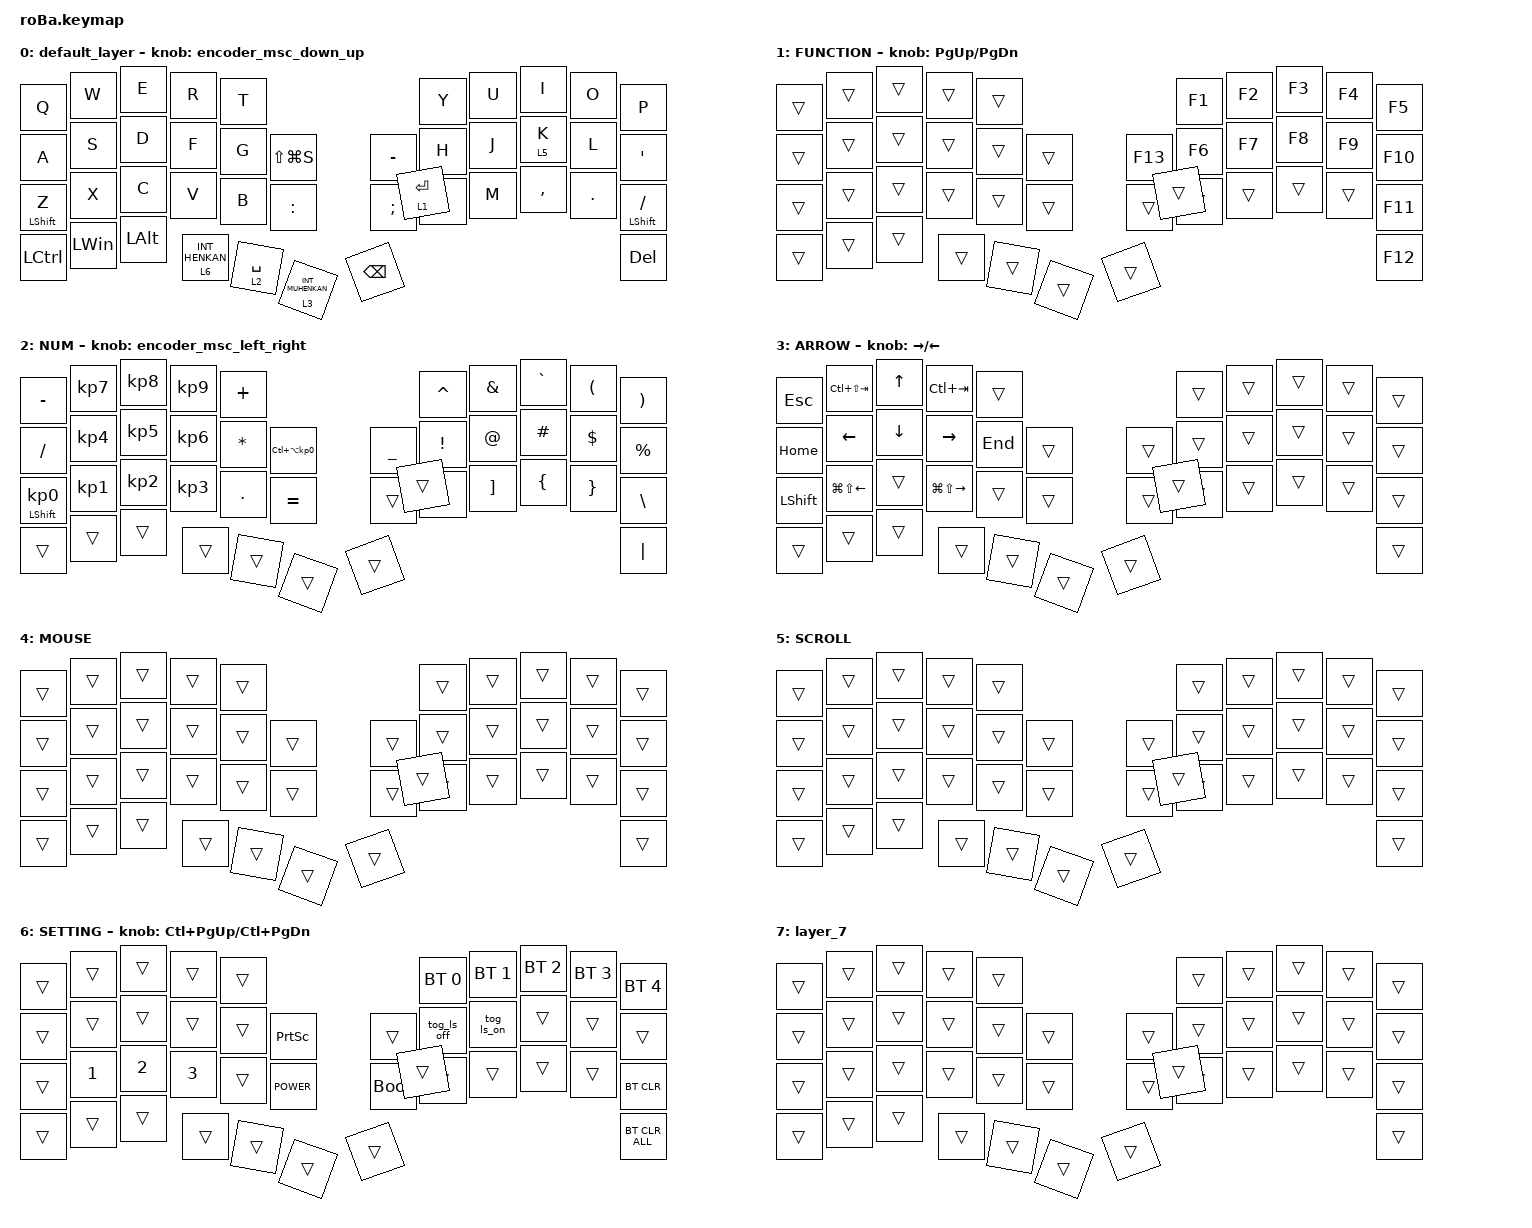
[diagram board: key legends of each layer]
#include <behaviors.dtsi>
#include <dt-bindings/zmk/bt.h>
#include <dt-bindings/zmk/keys.h>
#include <dt-bindings/zmk/pointing.h>

// Layout Shift Overlay - Replaces &kp behavior with custom implementation
// This file should be included in keyboard config to override &kp behavior

#include "layout_shift.dtsi"

/ {
    behaviors {
        // Keep the original key_press behavior for ZMK core components

        original_key_press: original_key_press {
            compatible = "zmk,behavior-key-press";
            #binding-cells = <1>;
            label = "KEY_PRESS";
        };

        // Override the existing &kp behavior to use our custom implementation

        kp: key_press {
            compatible = "zmk,behavior-layout-shift-key-press";
            #binding-cells = <1>;
            label = "LAYOUT_SHIFT_KEY_PRESS";

            //bindings = <&original_key_press>; //古い設定
            //toggle-behavior = <&tog_ls>;
        };
    };
};

#define ZMK_POINTING_DEFAULT_SCRL_VAL 80

&tog_ls { layout-maps = <&layout_shift_map_us_to_jis>; };

&tog_ls_on { layout-maps = <&layout_shift_map_us_to_jis>; };

&tog_ls_off { layout-maps = <&layout_shift_map_us_to_jis>; };

&mt {
    flavor = "balanced";
    quick-tap-ms = <0>;
};

&trackball {
    automouse-layer = <4>;
    scroll-layers = <5>;

    // arrows {
    //     layers = <3>;
    //     bindings =
    //         <&kp RIGHT_ARROW>,
    //         <&kp LEFT_ARROW>,
    //         <&kp UP_ARROW>,
    //         <&kp DOWN_ARROW>;
    //     tick = <10>;
    //     wait-ms = <5>;
    //     tap-ms = <5>;
    // };
};

/ {
    combos {
        compatible = "zmk,combos";

        tab {
            bindings = <&kp TAB>;
            key-positions = <11 12>;
        };

        shift_tab {
            bindings = <&kp LS(TAB)>;
            key-positions = <12 13>;
        };

        muhennkann {
            bindings = <&to_layer_0 INT_MUHENKAN>;
            key-positions = <11 10>;
        };

        double_quotation {
            bindings = <&kp DOUBLE_QUOTES>;
            key-positions = <20 21>;
        };

        eq {
            bindings = <&kp EQUAL>;
            key-positions = <24 25>;
        };

        insert {
            bindings = <&kp INSERT>;
            key-positions = <16 28>;
        };

        numlock {
            bindings = <&kp KP_NUMLOCK>;
            key-positions = <15 27>;
        };

        left_click {
            bindings = <&mkp MB1>;
            key-positions = <18 19>;
        };

        right_click {
            bindings = <&mkp MB2>;
            key-positions = <19 20>;
        };

        middle_click {
            bindings = <&mkp MB3>;
            key-positions = <31 19>;
        };

        mb4_click {
            bindings = <&mkp MB4>;
            key-positions = <30 31>;
        };

        mb5_click {
            bindings = <&mkp MB5>;
            key-positions = <31 32>;
        };
    };

    macros {
        to_layer_0: to_layer_0 {
            compatible = "zmk,behavior-macro-one-param";
            #binding-cells = <1>;
            bindings = <&to 0 &macro_param_1to1 &kp MACRO_PLACEHOLDER>;
            label = "TO_LAYER_0";
        };
    };

    behaviors {
        lt_to_layer_0: lt_to_layer_0 {
            compatible = "zmk,behavior-hold-tap";
            label = "LAYER_TAP_TO_0";
            bindings = <&mo>, <&to_layer_0>;

            #binding-cells = <2>;
            tapping-term-ms = <200>;
        };
    };

    behaviors {
        encoder_msc_down_up: encoder_msc_down_up {
            compatible = "zmk,behavior-sensor-rotate";
            label = "ENCODER_MSC_DOWN_UP";
            #sensor-binding-cells = <0>;
            bindings = <&msc SCRL_DOWN>, <&msc SCRL_UP>;

            tap-ms = <20>;
        };
    };

    behaviors {
        init_layout_shift: init_layout_shift {
            compatible = "zmk,behavior-hold-tap";
            #binding-cells = <2>;
            flavor = "tap-preferred";
            tapping-term-ms = <0>;
            bindings = <&tog_ls_on>, <&tog_ls_on>;
        };

        encoder_msc_left_right: encoder_msc_left_right {
            compatible = "zmk,behavior-sensor-rotate";
            label = "ENCODER_MSC_LEFT_RIGHT";
            #sensor-binding-cells = <0>;
            bindings = <&msc SCRL_LEFT>, <&msc SCRL_RIGHT>;

            tap-ms = <20>;
        };
    };

    keymap {
        compatible = "zmk,keymap";

        default_layer {
            bindings = <
&kp Q             &kp W         &kp E         &kp R                        &kp T                                                          &kp Y        &kp U  &kp I      &kp O    &kp P
&kp A             &kp S         &kp D         &kp F                        &kp G        &kp LS(LG(S))                      &kp MINUS      &kp H        &kp J  &lt 5 K    &kp L    &kp SQT
&mt LEFT_SHIFT Z  &kp X         &kp C         &kp V                        &kp B        &kp COLON                          &kp SEMICOLON  &kp N        &kp M  &kp COMMA  &kp DOT  &mt LEFT_SHIFT SLASH
&kp LCTRL         &kp LEFT_WIN  &kp LEFT_ALT  &lt_to_layer_0 6 INT_HENKAN  &lt 2 SPACE  &lt_to_layer_0 3 INT_MUHENKAN      &kp BACKSPACE  &lt 1 ENTER                             &kp DEL
            >;

            //sensor-bindings = <&inc_dec_kp PG_UP PAGE_DOWN>;

            sensor-bindings = <&encoder_msc_down_up>;
        };

        FUNCTION {
            bindings = <
&trans  &trans  &trans  &trans  &trans                       &kp F1  &kp F2  &kp F3  &kp F4  &kp F5
&trans  &trans  &trans  &trans  &trans  &trans      &kp F13  &kp F6  &kp F7  &kp F8  &kp F9  &kp F10
&trans  &trans  &trans  &trans  &trans  &trans      &trans   &trans  &trans  &trans  &trans  &kp F11
&trans  &trans  &trans  &trans  &trans  &trans      &trans   &trans                          &kp F12
            >;

            sensor-bindings = <&inc_dec_kp PAGE_UP PAGE_DOWN>;
        };

        NUM {
            bindings = <
&kp MINUS                   &kp KP_NUMBER_7  &kp KP_NUMBER_8  &kp KP_NUMBER_9  &kp PLUS                                                   &kp CARET         &kp AMPERSAND      &kp GRAVE       &kp LEFT_PARENTHESIS  &kp RIGHT_PARENTHESIS
&kp SLASH                   &kp KP_NUMBER_4  &kp KP_NUMBER_5  &kp KP_NUMBER_6  &kp ASTERISK  &kp LC(LA(KP_NUMBER_0))      &kp UNDERSCORE  &kp EXCLAMATION   &kp AT_SIGN        &kp HASH        &kp DOLLAR            &kp PERCENT
&mt LEFT_SHIFT KP_NUMBER_0  &kp KP_NUMBER_1  &kp KP_NUMBER_2  &kp KP_NUMBER_3  &kp PERIOD    &kp EQUAL                    &trans          &kp LEFT_BRACKET  &kp RIGHT_BRACKET  &kp LEFT_BRACE  &kp RIGHT_BRACE       &kp BACKSLASH
&trans                      &trans           &trans           &trans           &trans        &trans                       &trans          &trans                                                                     &kp PIPE
            >;

            sensor-bindings = <&encoder_msc_left_right>;
        };

        ARROW {
            bindings = <
&kp ESCAPE      &kp LC(LS(TAB))         &kp UP_ARROW    &kp LC(TAB)              &trans                       &trans  &trans  &trans  &trans  &trans
&kp HOME        &kp LEFT_ARROW          &kp DOWN_ARROW  &kp RIGHT_ARROW          &kp END  &trans      &trans  &trans  &trans  &trans  &trans  &trans
&kp LEFT_SHIFT  &kp LG(LS(LEFT_ARROW))  &trans          &kp LG(LS(RIGHT_ARROW))  &trans   &trans      &trans  &trans  &trans  &trans  &trans  &trans
&trans          &trans                  &trans          &trans                   &trans   &trans      &trans  &trans                          &trans
            >;

            sensor-bindings = <&inc_dec_kp RIGHT_ARROW LEFT_ARROW>;
        };

        MOUSE {
            bindings = <
&trans  &trans  &trans  &trans  &trans                      &trans  &trans  &trans  &trans  &trans
&trans  &trans  &trans  &trans  &trans  &trans      &trans  &trans  &trans  &trans  &trans  &trans
&trans  &trans  &trans  &trans  &trans  &trans      &trans  &trans  &trans  &trans  &trans  &trans
&trans  &trans  &trans  &trans  &trans  &trans      &trans  &trans                          &trans
            >;
        };

        SCROLL {
            bindings = <
&trans  &trans  &trans  &trans  &trans                      &trans  &trans  &trans  &trans  &trans
&trans  &trans  &trans  &trans  &trans  &trans      &trans  &trans  &trans  &trans  &trans  &trans
&trans  &trans  &trans  &trans  &trans  &trans      &trans  &trans  &trans  &trans  &trans  &trans
&trans  &trans  &trans  &trans  &trans  &trans      &trans  &trans                          &trans
            >;
        };

        SETTING {
            bindings = <
&trans  &trans        &trans        &trans        &trans                                    &bt BT_SEL 0  &bt BT_SEL 1  &bt BT_SEL 2  &bt BT_SEL 3  &bt BT_SEL 4
&trans  &trans        &trans        &trans        &trans  &kp PRINTSCREEN      &trans       &tog_ls_off   &tog_ls_on    &trans        &trans        &trans
&trans  &kp NUMBER_1  &kp NUMBER_2  &kp NUMBER_3  &trans  &kp C_POWER          &bootloader  &trans        &trans        &trans        &trans        &bt BT_CLR
&trans  &trans        &trans        &trans        &trans  &trans               &trans       &trans                                                  &bt BT_CLR_ALL
            >;

            sensor-bindings = <&inc_dec_kp LC(PAGE_UP) LC(PAGE_DOWN)>;
        };

        layer_7 {
            bindings = <
&trans  &trans  &trans  &trans  &trans                      &trans  &trans  &trans  &trans  &trans
&trans  &trans  &trans  &trans  &trans  &trans      &trans  &trans  &trans  &trans  &trans  &trans
&trans  &trans  &trans  &trans  &trans  &trans      &trans  &trans  &trans  &trans  &trans  &trans
&trans  &trans  &trans  &trans  &trans  &trans      &trans  &trans                          &trans
            >;
        };
    };
};
